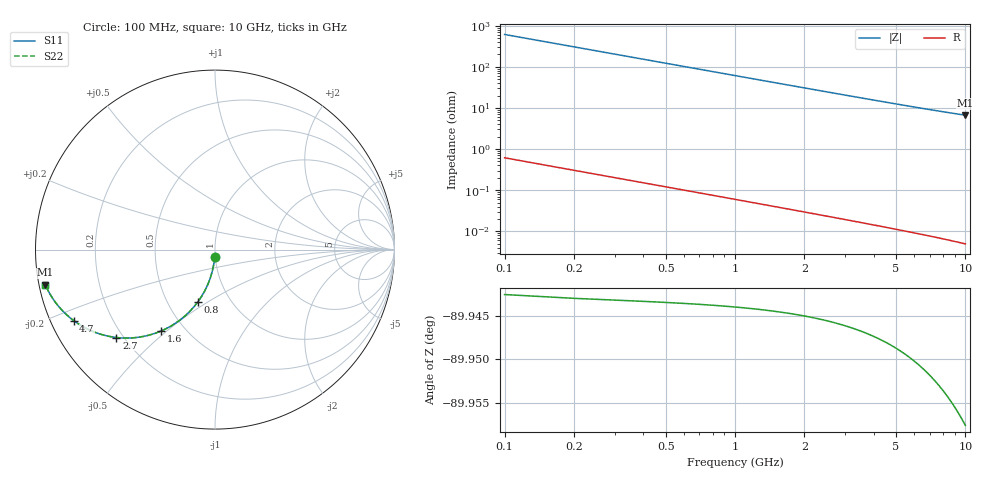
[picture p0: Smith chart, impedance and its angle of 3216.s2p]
# Hz S RI R 50.00
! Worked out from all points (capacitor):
!   100 points, 100 MHz to 10 GHz, reference 50 ohm
!   read as one part in shunt: C = 2.6 pF near 100 MHz
!   lowest |Z| = 6.67 ohm at 10 GHz (marker M1)
!   S11 on the Smith chart (normalised r, x): 100 MHz: 0.99, -0.08; 800 MHz: 0.70, -0.45; 1.6 GHz: 0.37, -0.48; 2.7 GHz: 0.17, -0.37; 4.7 GHz: 0.07, -0.24; 10 GHz: 0.02, -0.10
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1e8  -0.00165 -0.0405  0.9982 -0.041  0.9982 -0.041  -0.00165 -0.0405
2e8  -0.00665 -0.0806  0.9932 -0.0816  0.9932 -0.0816  -0.00665 -0.0806
3e8  -0.0148 -0.1198  0.985 -0.1214  0.985 -0.1214  -0.0148 -0.1198
4e8  -0.0261 -0.1579  0.9738 -0.1601  0.9738 -0.1601  -0.0261 -0.1579
5e8  -0.0401 -0.1945  0.9598 -0.1972  0.9598 -0.1972  -0.0401 -0.1945
6e8  -0.0568 -0.2294  0.9431 -0.2326  0.9431 -0.2326  -0.0568 -0.2294
8e8  -0.0966 -0.2928  0.9033 -0.2971  0.9033 -0.2971  -0.0966 -0.2928
1e9  -0.1431 -0.347  0.8568 -0.3524  0.8568 -0.3524  -0.1431 -0.347
1.2e9  -0.1937 -0.3916  0.8061 -0.398  0.8061 -0.398  -0.1937 -0.3916
1.4e9  -0.2464 -0.4267  0.7534 -0.4342  0.7534 -0.4342  -0.2464 -0.4267
1.6e9  -0.2993 -0.4531  0.7006 -0.4618  0.7006 -0.4618  -0.2993 -0.4531
1.8e9  -0.3508 -0.4719  0.649 -0.4816  0.649 -0.4816  -0.3508 -0.4719
2.2e9  -0.4467 -0.4907  0.5531 -0.5026  0.5531 -0.5026  -0.4467 -0.4907
2.7e9  -0.5489 -0.4898  0.4509 -0.5044  0.4509 -0.5044  -0.5489 -0.4898
3.4e9  -0.6589 -0.4642  0.3408 -0.4828  0.3408 -0.4828  -0.6589 -0.4642
4e9  -0.7281 -0.4334  0.2715 -0.4553  0.2715 -0.4553  -0.7281 -0.4334
4.7e9  -0.7875 -0.3954  0.212 -0.4214  0.212 -0.4214  -0.7875 -0.3954
5.1e9  -0.8138 -0.3744  0.1857 -0.4027  0.1857 -0.4027  -0.8138 -0.3744
5.8e9  -0.8501 -0.3399  0.1492 -0.3723  0.1492 -0.3723  -0.8501 -0.3399
6.7e9  -0.8838 -0.3006  0.1154 -0.3383  0.1154 -0.3383  -0.8838 -0.3006
8.4e9  -0.9236 -0.24  0.0751 -0.2881  0.0751 -0.2881  -0.9236 -0.24
1e10  -0.9454 -0.1956  0.0527 -0.2539  0.0527 -0.2539  -0.9454 -0.1956
